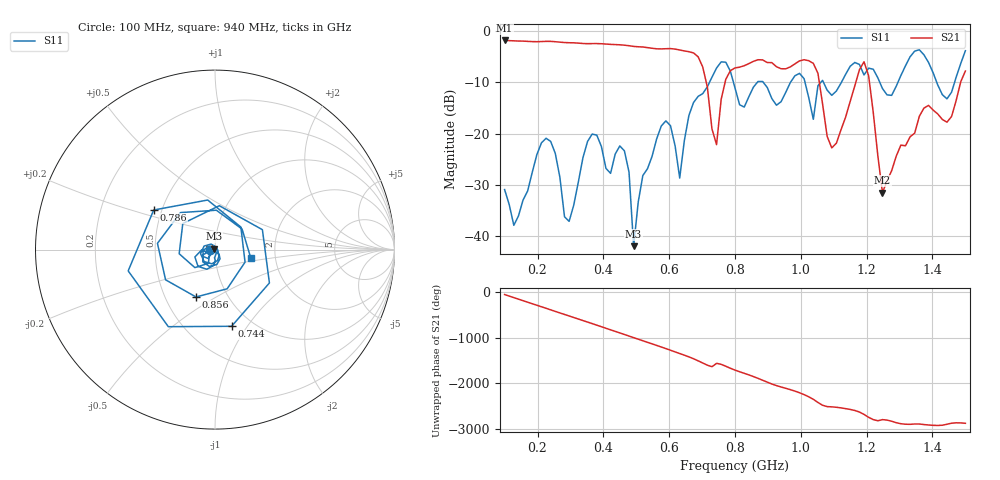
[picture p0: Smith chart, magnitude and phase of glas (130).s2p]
! NanoVNA-App
! Date: 2025-09-25 15:56:29
! Start: 100MHz Stop: 1,5GHz Points: 101
! S-Parameter data: F S11 S21 S12 S22
# Hz S RI R 50
!  Frequency  S11_Real  S11_Imag  S21_Real  S21_Imag  S12_Real  S12_Imag  S22_Real  S22_Imag
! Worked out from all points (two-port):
!   101 points, 100 MHz to 1.5 GHz, reference 50 ohm
!   highest |S21| = -1.80 dB at 100 MHz (marker M1); lowest = -31.5 dB at 1.248 GHz (marker M2)
!   |S21| within 3 dB of the highest: start of sweep to 684.4 MHz
!   lowest |S11| = -42.0 dB at 492 MHz (marker M3), VSWR 1.02, Z = 49.5 + j0.592 ohm
!   |S11| at or under -10 dB: start of sweep to 722.4 MHz; 795.4 MHz to 867.8 MHz (72.39 MHz wide, 8.71 % of centre); 886.1 MHz to 968.5 MHz (82.38 MHz wide, 8.88 % of centre) (the widest 3 of 7)
!   S12 and S22 are empty: the file has one direction only
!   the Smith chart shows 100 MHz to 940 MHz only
!   S11 on the Smith chart (normalised r, x): 100 MHz: 0.95, -0.01; 744 MHz: 0.80, -0.85; 786 MHz: 0.45, +0.24; 856 MHz: 0.71, -0.41; 940 MHz: 1.49, -0.15
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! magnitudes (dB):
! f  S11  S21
! 100 MHz  -31.0  -1.8
! 128 MHz  -37.9  -1.9
! 226 MHz  -20.9  -2.0
! 296 MHz  -37.2  -2.2
! 338 MHz  -24.7  -2.4
! 464 MHz  -23.4  -2.7
! 492 MHz  -42.0  -3.0
! 576 MHz  -18.5  -3.5
! 632 MHz  -28.7  -3.7
! 702 MHz  -12.2  -7.0
! 744 MHz  -7.2  -22.2
! 786 MHz  -7.8  -7.7
! 800 MHz  -11.1  -7.2
! 856 MHz  -10.9  -5.9
! 940 MHz  -13.8  -7.3
! 996 MHz  -8.2  -5.8
! 1.038 GHz  -17.2  -6.3
! 1.094 GHz  -12.5  -22.8
! 1.192 GHz  -8.6  -6.0
! 1.248 GHz  -11.2  -31.5
! 1.276 GHz  -12.5  -27.3
! 1.5 GHz  -3.8  -7.8
